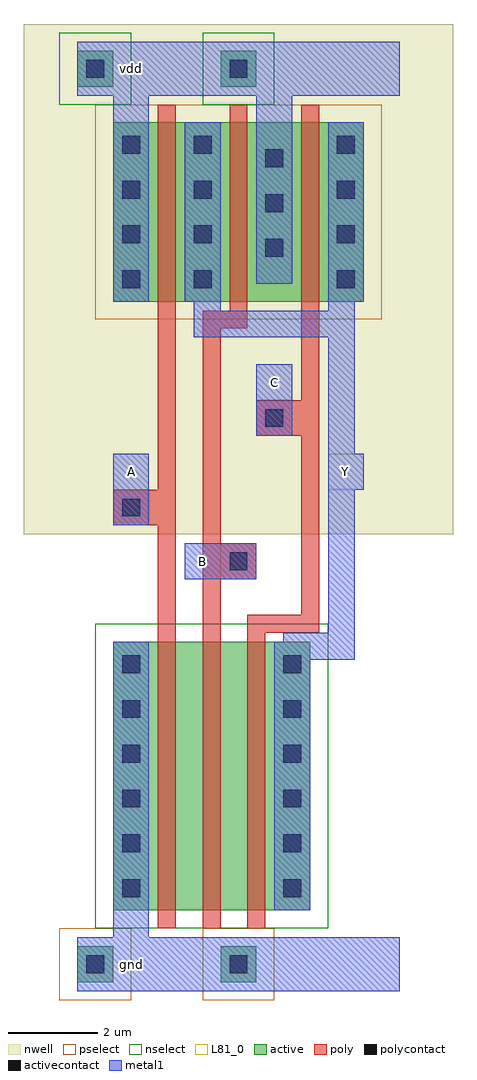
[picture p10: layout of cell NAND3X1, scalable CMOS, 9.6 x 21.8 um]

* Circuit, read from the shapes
.subckt NAND3X1 A B C Y gnd vdd
M1 n1 A gnd gnd nfet w=6u l=0.4u
M2 n2 B n1 gnd nfet w=6u l=0.4u
M3 Y C n2 gnd nfet w=6u l=0.4u
M4 Y A vdd vdd pfet w=4u l=0.4u
M5 vdd B Y vdd pfet w=4u l=0.4u
M6 Y C vdd vdd pfet w=4u l=0.4u
.ends

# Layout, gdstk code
import gdstk
lib = gdstk.Library(unit=1e-6, precision=1e-09)
def R(c, l, rs):  # rectangles x0, y0, x1, y1
    for r in rs: c.add(gdstk.rectangle(r[:2], r[2:], *l))
def A(c, l, x, y, w, h, nx, ny, dx, dy):  # array of equal rectangles
    R(c, l, [(x+i*dx, y+j*dy, x+i*dx+w, y+j*dy+h) for i in range(nx) for j in range(ny)])
nwell = (42, 0)
active = (43, 0)
pselect = (44, 0)
nselect = (45, 0)
poly = (46, 0)
polycontact = (47, 0)
activecontact = (48, 0)
metal1 = (49, 0)
L81_0 = (81, 0)

nand3x1 = lib.new_cell('NAND3X1')
R(nand3x1, nwell, [(-1.6,9.6,8,21)])
R(nand3x1, active, [(-0.4,-0.4,0.4,0.4), (2.8,-0.4,3.6,0.4), (0.4,1.2,4.8,7.2), (0.4,14.8,6,18.8), (-0.4,19.6,0.4,20.4), (2.8,19.6,3.6,20.4)])
R(nand3x1, pselect, [(-0.8,-0.8,0.8,0.8), (2.4,-0.8,4,0.8), (0,14.4,6.4,19.2)])
R(nand3x1, nselect, [(0,0.8,5.2,7.6), (-0.8,19.2,0.8,20.8), (2.4,19.2,4,20.8)])
R(nand3x1, poly, [(1.4,0.8,1.8,9.8), (2.4,0.8,2.8,8.6), (3.4,0.8,3.8,7.4), (3.4,7.4,5,7.8), (4.6,7.8,5,11.8), (2.4,8.6,3.6,9.4), (2.4,9.4,2.8,14.2), (0.4,9.8,1.8,10.6), (1.4,10.6,1.8,19.2), (3.6,11.8,5,12.6), (4.6,12.6,5,19.2), (2.4,14.2,3.4,14.6), (3,14.6,3.4,19.2)])
R(nand3x1, polycontact, [(3,8.8,3.4,9.2), (0.6,10,1,10.4), (3.8,12,4.2,12.4)])
A(nand3x1, activecontact, 0.6, 1.5, 0.4, 0.4, 1, 6, 0, 1)
A(nand3x1, activecontact, 4.2, 1.5, 0.4, 0.4, 1, 6, 0, 1)
A(nand3x1, activecontact, 0.6, 15.1, 0.4, 0.4, 1, 4, 0, 1)
A(nand3x1, activecontact, 2.2, 15.1, 0.4, 0.4, 1, 4, 0, 1)
A(nand3x1, activecontact, 5.4, 15.1, 0.4, 0.4, 1, 4, 0, 1)
A(nand3x1, activecontact, 3.8, 15.8, 0.4, 0.4, 1, 3, 0, 1)
R(nand3x1, activecontact, [(-0.2,-0.2,0.2,0.2), (3,-0.2,3.4,0.2), (-0.2,19.8,0.2,20.2), (3,19.8,3.4,20.2)])
R(nand3x1, metal1, [(-0.4,-0.6,6.8,0.6), (0.4,0.6,1.2,7.2), (4,1.2,4.8,6.8), (4,6.8,5.8,7.2), (4.2,7.2,5.8,7.4), (5.2,7.4,5.8,10.6), (2,8.6,3.6,9.4), (0.4,9.8,1.2,11.4), (5.2,10.6,6,11.4), (5.2,11.4,5.8,14), (3.6,11.8,4.4,13.4), (2.2,14,5.8,14.6), (2.2,14.6,2.8,14.8), (5.2,14.6,5.8,14.8), (0.4,14.8,1.2,19.4), (2,14.8,2.8,18.8), (5.2,14.8,6,18.8), (3.6,15.2,4.4,19.4), (-0.4,19.4,6.8,20.6)])
R(nand3x1, L81_0, [(2,8.6,2.8,9.4), (0.4,10.6,1.2,11.4), (5.2,10.6,6,11.4), (3.6,12.6,4.4,13.4)])
nand3x1.add(gdstk.Label('B', (2.4,9), layer=109, texttype=0))
nand3x1.add(gdstk.Label('vdd', (0.8,20), layer=109, texttype=0))
nand3x1.add(gdstk.Label('gnd', (0.8,0), layer=109, texttype=0))
nand3x1.add(gdstk.Label('A', (0.8,11), layer=109, texttype=0))
nand3x1.add(gdstk.Label('C', (4,13), layer=109, texttype=0))
nand3x1.add(gdstk.Label('Y', (5.6,11), layer=109, texttype=0))

lib.write_gds('NAND3X1.gds')
